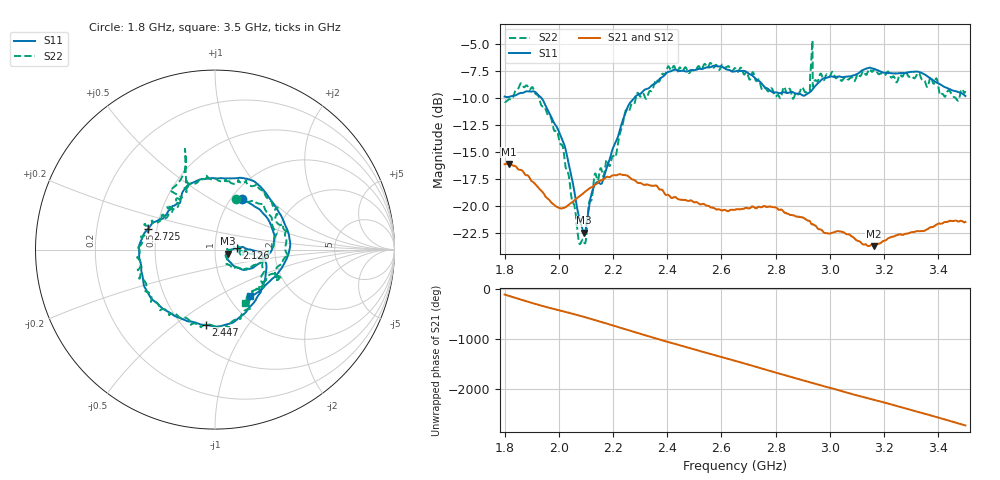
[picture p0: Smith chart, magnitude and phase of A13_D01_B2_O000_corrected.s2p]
! Created with skrf 1.9.0 (http://scikit-rf.org).
# Hz S RI R 50.0
!freq ReS11 ImS11 ReS21 ImS21 ReS12 ImS12 ReS22 ImS22
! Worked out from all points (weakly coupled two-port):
!   1601 points, 1.8 GHz to 3.5 GHz, reference 50 ohm
!   highest |S21| = -16.07 dB at 1.816 GHz (marker M1); lowest = -23.7 dB at 3.162 GHz (marker M2)
!   lowest |S11| = -22.4 dB at 2.093 GHz (marker M3), VSWR 1.16, Z = 57.7 - j2.53 ohm
!   |S11| at or under -10 dB: 1.937 GHz to 2.277 GHz (340.6 MHz wide, 16.2 % of centre)
!   |S22| runs from -23.5 to -4.6 dB; largest |S21 - S12| = 0.003
!   S11 on the Smith chart (normalised r, x): 1.8 GHz: 1.12, +0.71; 2.126 GHz: 1.27, +0.02; 2.447 GHz: 0.64, -0.66; 2.725 GHz: 0.45, +0.12; 3.5 GHz: 1.26, -0.72
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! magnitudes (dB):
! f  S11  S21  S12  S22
! 1.8 GHz  -9.8  -16.1  -16.1  -10.3
! 1.816 GHz  -9.9  -16.1  -16.1  -10.1
! 1.901 GHz  -9.4  -17.7  -17.6  -9.0
! 1.969 GHz  -11.6  -19.5  -19.6  -11.7
! 2.022 GHz  -14.5  -20.1  -20.1  -15.8
! 2.084 GHz  -21.8  -18.9  -18.9  -23.2
! 2.093 GHz  -22.4  -18.7  -18.8  -23.3
! 2.126 GHz  -18.4  -18.2  -18.2  -18.4
! 2.161 GHz  -17.7  -17.6  -17.5  -17.0
! 2.208 GHz  -14.1  -17.1  -17.1  -15.5
! 2.26 GHz  -10.5  -17.3  -17.3  -11.2
! 2.367 GHz  -8.3  -18.3  -18.3  -8.5
! 2.447 GHz  -7.5  -19.4  -19.4  -7.1
! 2.65 GHz  -7.5  -20.3  -20.3  -7.2
! 2.725 GHz  -8.2  -20.2  -20.2  -8.3
! 2.867 GHz  -9.5  -20.8  -20.9  -10.0
! 2.918 GHz  -9.6  -21.3  -21.3  -9.3
! 2.934 GHz  -9.3  -21.7  -21.7  -5.4
! 2.945 GHz  -8.9  -21.8  -21.8  -8.3
! 3.162 GHz  -7.3  -23.7  -23.7  -7.4
! 3.217 GHz  -7.7  -22.9  -22.9  -7.6
! 3.5 GHz  -9.8  -21.4  -21.5  -9.3
